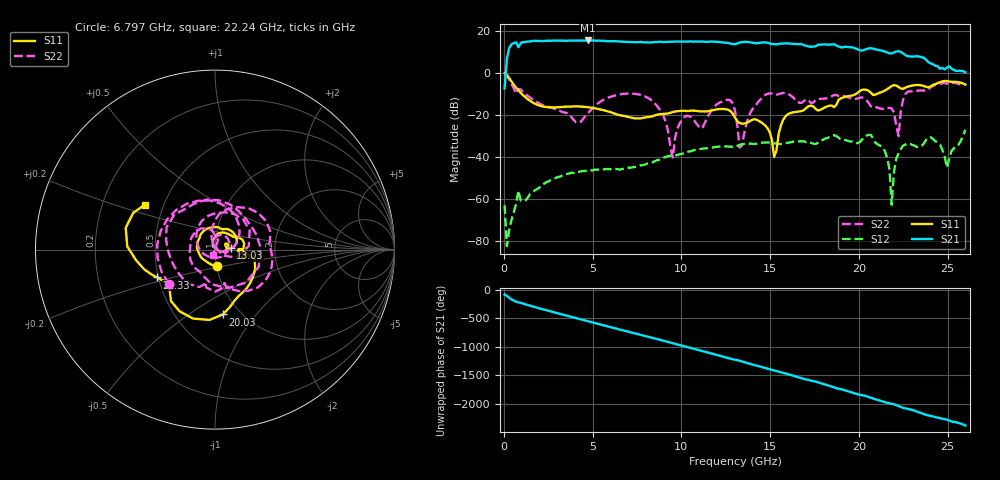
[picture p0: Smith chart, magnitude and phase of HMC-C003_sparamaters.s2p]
!Hittite Microwave Corporation
!20 Alpha Road
!Chelmsford, MA 01824
!Tel: 978-250-3343
!Fax: 978-250-3373
!Device: HMC-C003, 2-20 GHz, Wideband PA Module
!Misc: Vdd = +12V, Idd = 310 mA, Room Temperature
# GHZ S DB R 50
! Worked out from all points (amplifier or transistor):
!   201 points, 50 MHz to 26 GHz, reference 50 ohm
!   highest |S21| = 15.5 dB at 4.721 GHz (marker M1)
!   |S21| within 3 dB of that: 843.4 MHz to 17.3 GHz (16.46 GHz wide, 181 % of centre)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
!   unconditionally stable (mu >= 1): start of sweep to end of sweep
!   at 4.332 GHz: K = 18.26, MAG = 15.6 dB, |S12| = -47.0 dB
!   at 13.03 GHz: K = 5.96, MAG = 13.8 dB, |S12| = -35.3 dB
!   at 26 GHz: K = 5.87, MAG = 3.0 dB, |S12| = -27.1 dB
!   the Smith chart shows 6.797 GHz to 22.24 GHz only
!   S11 on the Smith chart (normalised r, x): 6.797 GHz: 1.01, -0.19; 13.03 GHz: 1.19, +0.02; 20.03 GHz: 0.83, -0.69; 21.33 GHz: 0.49, -0.17; 22.24 GHz: 0.39, +0.25
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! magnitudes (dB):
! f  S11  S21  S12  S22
! 50 MHz  -0.1  -7.3  -63.1  -0.4
! 179.7 MHz  -1.0  7.0  -82.6  -1.3
! 569 MHz  -5.7  14.3  -66.2  -7.3
! 4.461 GHz  -16.1  15.4  -46.8  -22.0
! 4.721 GHz  -16.3  15.5  -46.5  -19.3
! 6.797 GHz  -20.5  14.9  -45.6  -9.9
! 8.743 GHz  -19.7  14.8  -41.4  -16.9
! 9.522 GHz  -18.7  14.9  -39.4  -40.3
! 10.17 GHz  -18.1  15.0  -38.2  -21.1
! 13.03 GHz  -21.2  13.7  -35.3  -18.0
! 13.28 GHz  -23.9  14.5  -34.3  -35.6
! 15.23 GHz  -40.0  13.8  -33.4  -10.1
! 15.88 GHz  -20.6  14.1  -33.4  -9.6
! 17.44 GHz  -16.0  12.6  -33.7  -14.1
! 20.03 GHz  -8.8  10.8  -33.1  -11.9
! 21.33 GHz  -8.9  10.6  -35.6  -17.2
! 21.72 GHz  -7.0  9.4  -45.6  -16.6
! 21.85 GHz  -6.2  9.3  -62.9  -16.9
! 22.24 GHz  -6.7  10.4  -38.1  -30.1
! 22.76 GHz  -6.5  8.0  -33.6  -9.0
! 24.96 GHz  -3.9  2.5  -45.1  -5.1
! 26 GHz  -5.5  0.3  -27.1  -5.4
